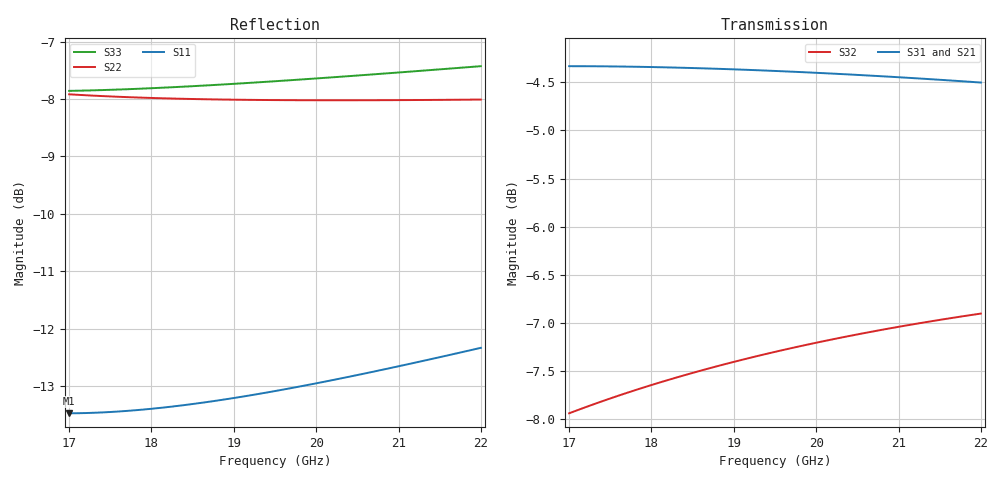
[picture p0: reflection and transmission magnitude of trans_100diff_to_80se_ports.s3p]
#  GHZ S DB R 50.0
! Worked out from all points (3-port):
!   51 points, 17 GHz to 22 GHz, reference 50 ohm
!   strongest paths, dB at 17 GHz, 18.2 GHz, 19.5 GHz, 20.8 GHz, 22 GHz:
!     S31: -4.3, -4.3, -4.4, -4.4, -4.5
!     S21: -4.5, -4.4, -4.4, -4.4, -4.4
!     S32: -7.9, -7.6, -7.3, -7.1, -6.9
!   lowest |S11| = -13.5 dB at 17 GHz (marker M1), VSWR 1.54, Z = 75.8 + j6.88 ohm
!   |S11| at or under -10 dB: start of sweep to end of sweep
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17  -13.48 11.8  -4.47 -173.7  -4.33 6.0
    -4.47 -173.7  -7.92 95.3  -7.94 73.6
    -4.33 6.0  -7.94 73.6  -7.86 92.4
17.3  -13.47 7.8  -4.45 -175.9  -4.33 3.9
      -4.45 -175.9  -7.94 92.4  -7.84 71.5
      -4.33 3.9  -7.84 71.5  -7.85 89.6
17.6  -13.45 3.9  -4.44 -178.0  -4.34 1.8
      -4.44 -178.0  -7.96 89.6  -7.76 69.5
      -4.34 1.8  -7.76 69.5  -7.83 86.9
18.2  -13.37 -3.5  -4.42 177.8  -4.35 -2.1
      -4.42 177.8  -7.99 84.4  -7.59 65.6
      -4.35 -2.1  -7.59 65.6  -7.80 81.8
18.8  -13.26 -10.4  -4.40 173.8  -4.36 -6.0
      -4.40 173.8  -8.01 79.5  -7.45 61.9
      -4.36 -6.0  -7.45 61.9  -7.75 77.1
19.5  -13.09 -17.8  -4.39 169.2  -4.38 -10.3
      -4.39 169.2  -8.02 74.2  -7.30 57.8
      -4.38 -10.3  -7.30 57.8  -7.69 72.0
20.1  -12.93 -23.7  -4.39 165.5  -4.41 -13.8
      -4.39 165.5  -8.02 70.1  -7.19 54.4
      -4.41 -13.8  -7.19 54.4  -7.63 68.0
20.7  -12.75 -29.3  -4.39 161.8  -4.43 -17.3
      -4.39 161.8  -8.02 66.2  -7.09 51.1
      -4.43 -17.3  -7.09 51.1  -7.57 64.3
21.3  -12.56 -34.5  -4.39 158.2  -4.46 -20.7
      -4.39 158.2  -8.02 62.6  -7.00 48.0
      -4.46 -20.7  -7.00 48.0  -7.50 60.8
22  -12.34 -40.2  -4.39 154.1  -4.50 -24.5
    -4.39 154.1  -8.01 58.7  -6.90 44.5
    -4.50 -24.5  -6.90 44.5  -7.43 57.0
